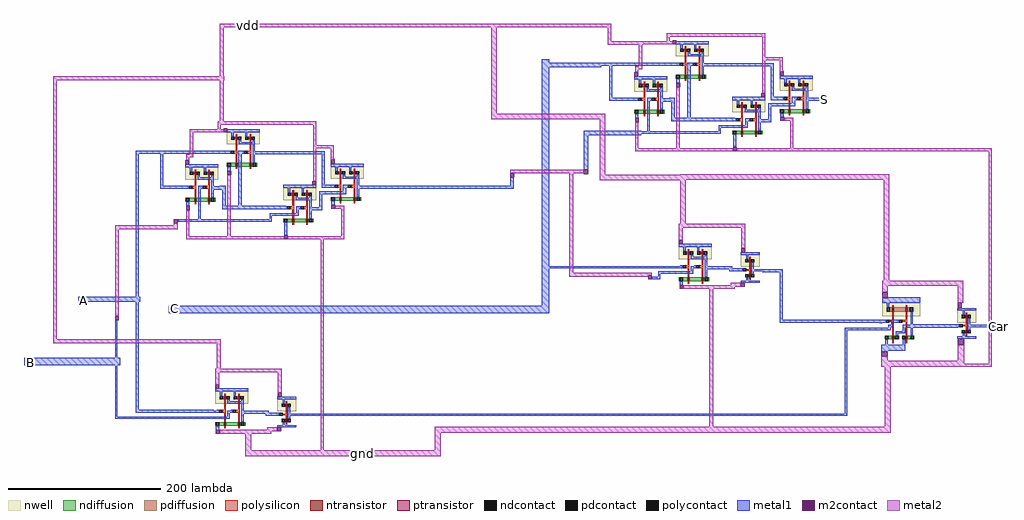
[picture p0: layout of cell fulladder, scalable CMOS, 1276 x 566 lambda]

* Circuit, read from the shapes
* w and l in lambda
.subckt fulladder A B C Car S gnd vdd
M1 n1 A gnd VSUBS nfet w=5 l=2
M2 XOR_0/NAND_3/A B n1 VSUBS nfet w=5 l=2
M3 n2 A gnd VSUBS nfet w=5 l=2
M4 n3 A gnd VSUBS nfet w=5 l=2
M5 AND_1/not_0/in B n2 VSUBS nfet w=5 l=2
M6 XOR_0/NAND_1/A XOR_0/NAND_3/A n3 VSUBS nfet w=5 l=2
M7 OR_0/B AND_1/not_0/in gnd VSUBS nfet w=4 l=2
M8 n4 XOR_0/NAND_3/A gnd VSUBS nfet w=5 l=2
M9 XOR_0/NAND_1/B B n4 VSUBS nfet w=5 l=2
M10 n5 XOR_0/NAND_1/A gnd VSUBS nfet w=5 l=2
M11 AND_0/B XOR_0/NAND_1/B n5 VSUBS nfet w=5 l=2
M12 n6 C gnd VSUBS nfet w=5 l=2
M13 XOR_1/NAND_3/A AND_0/B n6 VSUBS nfet w=5 l=2
M14 n7 C gnd VSUBS nfet w=5 l=2
M15 n8 C gnd VSUBS nfet w=5 l=2
M16 XOR_1/NAND_1/A XOR_1/NAND_3/A n7 VSUBS nfet w=5 l=2
M17 AND_0/not_0/in AND_0/B n8 VSUBS nfet w=5 l=2
M18 n9 XOR_1/NAND_3/A gnd VSUBS nfet w=5 l=2
M19 OR_0/A AND_0/not_0/in gnd VSUBS nfet w=4 l=2
M20 XOR_1/NAND_1/B AND_0/B n9 VSUBS nfet w=5 l=2
M21 n10 XOR_1/NAND_1/A gnd VSUBS nfet w=5 l=2
M22 S XOR_1/NAND_1/B n10 VSUBS nfet w=5 l=2
M23 OR_0/not_0/in OR_0/A gnd VSUBS nfet w=5 l=2
M24 OR_0/not_0/in OR_0/B gnd VSUBS nfet w=5 l=2
M25 Car OR_0/not_0/in gnd VSUBS nfet w=4 l=2
M26 XOR_0/NAND_3/A A vdd n11 pfet w=4 l=2
M27 XOR_0/NAND_3/A B vdd n11 pfet w=4 l=2
M28 AND_1/not_0/in A vdd n12 pfet w=4 l=2
M29 XOR_0/NAND_1/A A vdd n13 pfet w=4 l=2
M30 AND_1/not_0/in B vdd n12 pfet w=4 l=2
M31 XOR_0/NAND_1/A XOR_0/NAND_3/A vdd n13 pfet w=4 l=2
M32 OR_0/B AND_1/not_0/in vdd n14 pfet w=4 l=2
M33 XOR_0/NAND_1/B XOR_0/NAND_3/A vdd n15 pfet w=4 l=2
M34 XOR_0/NAND_1/B B vdd n15 pfet w=4 l=2
M35 AND_0/B XOR_0/NAND_1/A vdd n16 pfet w=4 l=2
M36 AND_0/B XOR_0/NAND_1/B vdd n16 pfet w=4 l=2
M37 XOR_1/NAND_3/A C vdd n17 pfet w=4 l=2
M38 XOR_1/NAND_3/A AND_0/B vdd n17 pfet w=4 l=2
M39 XOR_1/NAND_1/A C vdd n18 pfet w=4 l=2
M40 AND_0/not_0/in C vdd n19 pfet w=4 l=2
M41 XOR_1/NAND_1/A XOR_1/NAND_3/A vdd n18 pfet w=4 l=2
M42 AND_0/not_0/in AND_0/B vdd n19 pfet w=4 l=2
M43 XOR_1/NAND_1/B XOR_1/NAND_3/A vdd n20 pfet w=4 l=2
M44 OR_0/A AND_0/not_0/in vdd n21 pfet w=4 l=2
M45 XOR_1/NAND_1/B AND_0/B vdd n20 pfet w=4 l=2
M46 S XOR_1/NAND_1/A vdd n22 pfet w=4 l=2
M47 S XOR_1/NAND_1/B vdd n22 pfet w=4 l=2
M48 n23 OR_0/A vdd n24 pfet w=6 l=2
M49 OR_0/not_0/in OR_0/B n23 n24 pfet w=6 l=2
M50 Car OR_0/not_0/in vdd n25 pfet w=4 l=2
.ends

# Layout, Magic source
magic
tech scmos
<< metal1 >>
rect 510 231 520 235
rect 510 225 588 231
rect -21 112 4 116
rect -21 -75 -17 112
rect 469 70 473 81
rect 284 66 473 70
rect 34 23 56 26
rect 510 -35 520 225
rect 871 181 882 185
rect 565 136 640 142
rect 565 91 571 136
rect 510 -38 690 -35
rect -96 -82 -15 -75
rect -48 -155 -45 -106
rect -167 -165 -41 -155
rect -48 -232 -45 -165
rect -21 -223 -17 -82
rect 510 -87 520 -38
rect 705 -42 708 -35
rect 662 -45 708 -42
rect 798 -43 825 -39
rect 662 -49 665 -45
rect 654 -52 665 -49
rect 22 -97 520 -87
rect 821 -105 825 -43
rect 821 -109 955 -105
rect 952 -110 955 -109
rect 967 -109 975 -105
rect 967 -112 970 -109
rect 963 -115 970 -112
rect 1083 -115 1109 -112
rect 963 -116 966 -115
rect 906 -119 966 -116
rect -21 -227 81 -223
rect 99 -232 102 -224
rect 906 -228 909 -119
rect 191 -231 909 -228
rect -48 -235 102 -232
<< m2contact >>
rect 469 81 474 86
rect 29 21 34 26
rect 565 85 571 91
rect -48 -106 -43 -101
rect 649 -52 654 -47
<< metal2 >>
rect 89 277 601 282
rect 89 213 94 277
rect -129 208 95 213
rect -129 -131 -124 208
rect 89 152 94 208
rect 444 164 451 277
rect 596 259 601 277
rect 596 254 642 259
rect 444 157 593 164
rect 469 86 565 91
rect 29 18 34 21
rect -48 13 34 18
rect -48 -101 -43 13
rect -129 -136 90 -131
rect 85 -174 90 -136
rect 122 -276 130 -250
rect 221 -276 225 4
rect 546 -44 551 86
rect 586 84 593 157
rect 834 115 1098 119
rect 691 84 964 85
rect 586 78 964 84
rect 586 77 698 78
rect 691 17 698 77
rect 546 -47 654 -44
rect 546 -49 649 -47
rect 729 -245 734 -60
rect 957 -61 964 78
rect 958 -245 966 -159
rect 1094 -163 1098 115
rect 1047 -167 1098 -163
rect 370 -253 966 -245
rect 370 -276 378 -253
rect 122 -284 378 -276
use AND  AND_1
transform 1 0 83 0 1 -250
box -2 -4 111 81
use OR  OR_0
transform 1 0 954 0 1 -146
box -3 -21 132 92
use AND  AND_0
transform 1 0 689 0 1 -61
box -2 -4 111 81
use XOR  XOR_1
transform 1 0 723 0 1 203
box -136 -88 152 66
use XOR  XOR_0
transform 1 0 136 0 1 88
box -136 -88 152 66
<< labels >>
rlabel metal1 -93 -81 -86 -78 1 A
rlabel metal1 -164 -163 -154 -159 1 B
rlabel metal1 25 -93 35 -89 1 C
rlabel metal2 124 278 128 280 5 vdd
rlabel metal2 272 -282 278 -279 1 gnd
rlabel metal1 879 182 881 184 1 S
rlabel metal1 1107 -114 1108 -113 7 Car
<< end >>

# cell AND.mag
magic
tech scmos
<< metal1 >>
rect -2 23 5 26
rect 16 23 23 26
rect 41 23 70 26
rect 41 22 82 23
rect 66 19 82 22
rect 106 19 111 22
rect 1 1 5 4
<< m2contact >>
rect 0 55 5 60
rect 82 44 87 49
rect 1 -4 6 1
rect 81 -1 86 4
<< metal2 >>
rect 0 76 87 81
rect 0 60 5 76
rect 82 49 87 76
rect 68 1 81 4
rect 6 -1 81 1
rect 6 -4 73 -1
use not  not_0
transform 1 0 90 0 1 24
box -9 -20 16 20
use NAND  NAND_0
transform 1 0 1 0 1 36
box -1 -36 44 19
<< labels >>
rlabel metal2 22 -2 26 -1 1 gnd
rlabel metal2 13 78 19 80 5 vdd
rlabel metal1 17 24 18 25 1 B
rlabel metal1 -1 24 1 25 3 A
rlabel metal1 107 20 109 21 7 out
<< end >>

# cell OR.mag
magic
tech scmos
<< metal1 >>
rect -4 37 4 41
rect 18 37 23 41
rect 47 30 100 35
rect 121 31 132 34
rect 0 -1 8 8
<< m2contact >>
rect 1 69 8 77
rect 100 56 105 63
rect 100 8 108 16
rect 0 -7 8 -1
<< metal2 >>
rect 1 85 107 92
rect 1 77 8 85
rect 100 63 107 85
rect 0 -13 8 -7
rect 100 -13 108 8
rect 0 -21 108 -13
use NOR  NOR_0
transform 1 0 20 0 1 44
box -20 -44 32 26
use not  not_0
transform 1 0 108 0 1 36
box -9 -20 16 20
<< labels >>
rlabel metal2 16 88 22 91 5 vdd
rlabel metal2 31 -19 40 -15 1 gnd
rlabel metal1 128 32 130 33 7 out
rlabel metal1 -3 38 -2 39 3 A
rlabel metal1 19 38 20 39 1 B
<< end >>

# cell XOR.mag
magic
tech scmos
<< metal1 >>
rect -136 24 -33 28
rect -125 -18 -121 24
rect -37 1 -33 2
rect -125 -22 -90 -18
rect -75 -21 -69 -18
rect -75 -62 -72 -21
rect -47 -23 -39 -18
rect -44 -44 -39 -23
rect -23 -44 -18 28
rect 3 23 90 27
rect 86 -17 90 23
rect 86 -21 100 -17
rect 114 -25 118 -17
rect 139 -22 152 -18
rect 83 -29 118 -25
rect -44 -46 39 -44
rect -44 -49 41 -46
rect 53 -54 56 -45
rect 83 -46 87 -29
rect 77 -50 87 -46
rect 99 -43 103 -40
rect 18 -57 56 -54
rect 18 -62 21 -57
rect -83 -65 21 -62
rect 37 -83 41 -72
<< m2contact >>
rect -42 52 -37 57
rect -92 10 -87 15
rect -37 -4 -32 1
rect -91 -50 -86 -44
rect 74 -17 79 -12
rect 98 11 103 16
rect 99 -48 104 -43
rect 37 -88 42 -83
<< metal2 >>
rect -50 62 79 66
rect -50 56 -46 62
rect -86 52 -42 56
rect -86 23 -82 52
rect -91 19 -82 23
rect 75 35 79 62
rect 75 31 102 35
rect -91 15 -87 19
rect -91 -84 -87 -50
rect -37 -84 -33 -4
rect 75 -12 79 31
rect 98 17 102 31
rect 98 16 103 17
rect 104 -48 116 -44
rect -91 -88 37 -84
rect 112 -84 116 -48
rect 42 -88 116 -84
use NAND  NAND_0
transform 1 0 -37 0 1 37
box -1 -36 44 19
use NAND  NAND_1
transform 1 0 99 0 1 -8
box -1 -36 44 19
use NAND  NAND_2
transform 1 0 -91 0 1 -9
box -1 -36 44 19
use NAND  NAND_3
transform 1 0 37 0 1 -36
box -1 -36 44 19
<< labels >>
rlabel metal1 -134 25 -130 27 3 A
rlabel metal1 -81 -64 -77 -62 1 B
rlabel metal2 -83 -87 -78 -85 1 gnd
rlabel metal1 147 -21 150 -19 7 out
rlabel metal2 -73 53 -67 55 1 vdd
<< end >>

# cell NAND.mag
magic
tech scmos
<< nwell >>
rect -1 -1 42 15
<< ntransistor >>
rect 11 -30 13 -25
rect 29 -30 31 -25
<< ptransistor >>
rect 11 5 13 9
rect 29 5 31 9
<< ndiffusion >>
rect -1 -30 0 -25
rect 4 -30 11 -25
rect 13 -30 29 -25
rect 31 -30 33 -25
rect 37 -30 39 -25
<< pdiffusion >>
rect 9 5 11 9
rect 13 5 14 9
rect 27 5 29 9
rect 31 5 32 9
<< ndcontact >>
rect 0 -30 4 -25
rect 33 -30 37 -25
<< pdcontact >>
rect 5 5 9 9
rect 14 5 18 9
rect 23 5 27 9
rect 32 5 36 9
<< polysilicon >>
rect 11 9 13 12
rect 29 9 31 12
rect 11 -9 13 5
rect 29 -9 31 5
rect 8 -13 13 -9
rect 26 -13 31 -9
rect 11 -25 13 -13
rect 29 -25 31 -13
rect 11 -33 13 -30
rect 29 -33 31 -30
<< polycontact >>
rect 4 -13 8 -9
rect 22 -13 26 -9
<< metal1 >>
rect -1 15 42 19
rect 5 9 8 15
rect 23 9 26 15
rect 15 2 18 5
rect 33 2 36 5
rect 15 -1 36 2
rect 1 -13 4 -9
rect 19 -13 22 -9
rect 33 -10 36 -1
rect 33 -14 44 -10
rect 33 -25 36 -14
rect 0 -36 4 -30
<< labels >>
rlabel metal1 2 -12 3 -10 3 A
rlabel metal1 20 -12 21 -10 1 B
rlabel metal1 0 16 3 18 4 vdd
rlabel metal1 39 -13 42 -11 7 out
rlabel metal1 1 -35 3 -33 2 gnd
<< end >>

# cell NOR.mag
magic
tech scmos
<< nwell >>
rect -19 1 31 19
<< ntransistor >>
rect -6 -29 -4 -24
rect 12 -29 14 -24
<< ptransistor >>
rect -6 7 -4 13
rect 12 7 14 13
<< ndiffusion >>
rect -16 -29 -15 -24
rect -11 -29 -6 -24
rect -4 -29 -2 -24
rect 2 -29 3 -24
rect 11 -29 12 -24
rect 14 -29 18 -24
rect 22 -29 23 -24
<< pdiffusion >>
rect -9 7 -6 13
rect -4 7 12 13
rect 14 7 17 13
rect 21 7 22 13
<< ndcontact >>
rect -15 -29 -11 -24
rect -2 -29 2 -24
rect 7 -29 11 -24
rect 18 -29 22 -24
<< pdcontact >>
rect -13 7 -9 13
rect 17 7 21 13
<< polysilicon >>
rect -6 13 -4 16
rect 12 13 14 16
rect -6 -3 -4 7
rect 12 -3 14 7
rect -10 -6 -4 -3
rect -6 -24 -4 -6
rect 7 -6 14 -3
rect 12 -24 14 -6
rect -6 -34 -4 -29
rect 12 -34 14 -29
<< polycontact >>
rect -14 -7 -10 -3
rect 3 -7 7 -3
<< metal1 >>
rect -19 19 31 26
rect -13 13 -10 19
rect -20 -7 -14 -3
rect 0 -7 3 -3
rect 18 -9 21 7
rect 18 -10 32 -9
rect 8 -14 32 -10
rect 8 -18 11 -14
rect -1 -21 11 -18
rect -1 -24 2 -21
rect 18 -24 21 -14
rect -15 -36 -12 -29
rect 8 -36 11 -29
rect -20 -44 11 -36
<< labels >>
rlabel metal1 -16 22 -11 24 5 vdd
rlabel metal1 26 -13 31 -11 7 out
rlabel metal1 1 -6 2 -4 1 B
rlabel metal1 -19 -42 -13 -39 2 gnd
rlabel metal1 -17 -6 -15 -4 3 A
<< end >>

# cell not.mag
magic
tech scmos
<< nwell >>
rect -9 1 16 17
<< ntransistor >>
rect 2 -13 4 -9
<< ptransistor >>
rect 2 7 4 11
<< ndiffusion >>
rect 1 -13 2 -9
rect 4 -13 5 -9
<< pdiffusion >>
rect 1 7 2 11
rect 4 7 5 11
<< ndcontact >>
rect -3 -13 1 -9
rect 5 -13 9 -9
<< pdcontact >>
rect -3 7 1 11
rect 5 7 9 11
<< polysilicon >>
rect 2 11 4 14
rect 2 -2 4 7
rect -2 -4 4 -2
rect 2 -9 4 -4
rect 2 -16 4 -13
<< polycontact >>
rect -6 -5 -2 -1
<< metal1 >>
rect -9 17 16 20
rect -2 11 1 17
rect -8 -5 -6 -1
rect 5 -2 8 7
rect 5 -5 16 -2
rect 5 -9 8 -5
rect -2 -17 1 -13
rect -9 -20 16 -17
<< labels >>
rlabel metal1 -5 18 -3 19 4 VDD
rlabel metal1 -8 -4 -7 -2 3 in
rlabel metal1 13 -4 15 -3 7 out
rlabel metal1 -2 -19 0 -18 1 gnd
<< end >>
